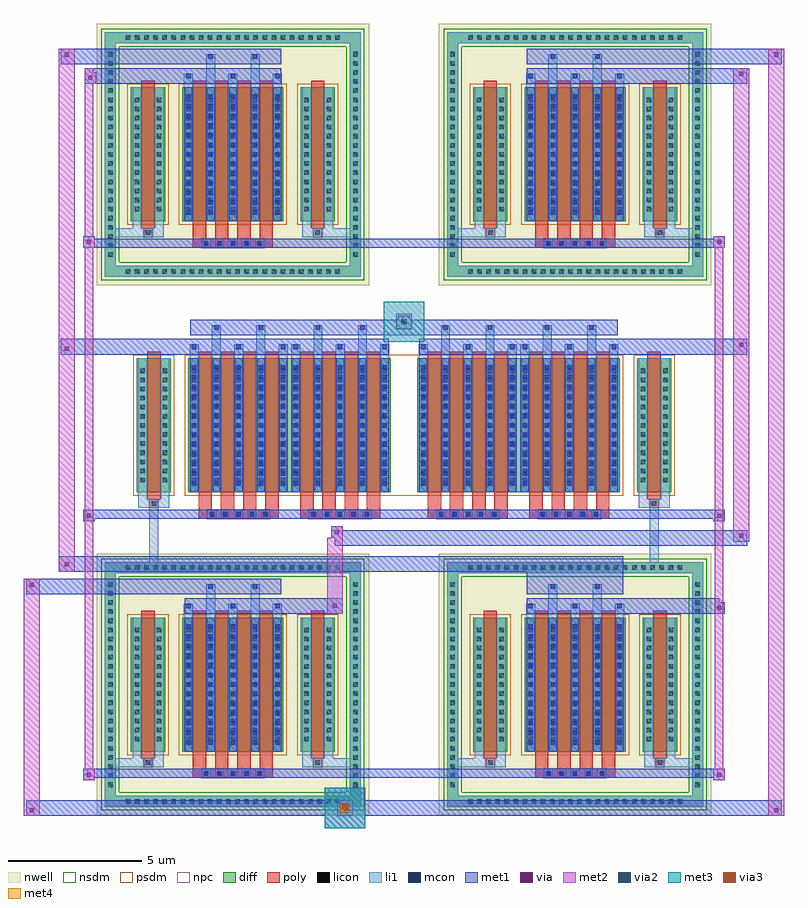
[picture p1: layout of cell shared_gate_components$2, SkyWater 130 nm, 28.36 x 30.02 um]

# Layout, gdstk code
import gdstk
lib = gdstk.Library(unit=1e-6, precision=5e-09)
def R(c, l, rs):  # rectangles x0, y0, x1, y1
    for r in rs: c.add(gdstk.rectangle(r[:2], r[2:], *l))
def A(c, l, x, y, w, h, nx, ny, dx, dy):  # array of equal rectangles
    R(c, l, [(x+i*dx, y+j*dy, x+i*dx+w, y+j*dy+h) for i in range(nx) for j in range(ny)])
def P(c, l, *ps):  # polygons
    for p in ps: c.add(gdstk.Polygon(p, *l))
nwell = (64, 20)
diff = (65, 20)
poly = (66, 20)
licon = (66, 44)
li1 = (67, 20)
mcon = (67, 44)
met1 = (68, 20)
via = (68, 44)
met2 = (69, 20)
via2 = (69, 44)
met3 = (70, 20)
via3 = (70, 44)
met4 = (71, 20)
nsdm = (93, 44)
psdm = (94, 20)
npc = (95, 20)

multiplier_13336cac = lib.new_cell('multiplier_13336cac')
R(multiplier_13336cac, diff, [(-3.805,-2.5,-2.525,2.5), (-1.885,-2.5,1.885,2.5)])
A(multiplier_13336cac, poly, -1.165, -3.48, 0.33, 0.33, 5, 1, 0.5, 0)
A(multiplier_13336cac, poly, -1.495, -3.15, 0.5, 0.4, 4, 1, 0.83, 0)
A(multiplier_13336cac, poly, -1.495, -2.75, 0.5, 5.5, 4, 1, 0.83, 0)
R(multiplier_13336cac, poly, [(-1.495,-3.48,1.495,-3.15), (-3.33,-3.08,-3,-2.75), (-3.33,-3.08,-3,-2.75), (-3.415,-2.75,-2.915,2.75)])
A(multiplier_13336cac, licon, -1.085, -3.4, 0.17, 0.17, 5, 1, 0.5, 0)
A(multiplier_13336cac, licon, -3.665, -2.125, 0.17, 0.17, 1, 13, 0, 0.34)
A(multiplier_13336cac, licon, -2.835, -2.125, 0.17, 0.17, 1, 13, 0, 0.34)
A(multiplier_13336cac, licon, -1.745, -2.125, 0.17, 0.17, 5, 13, 0.83, 0.34)
R(multiplier_13336cac, licon, [(-3.25,-3,-3.08,-2.83)])
A(multiplier_13336cac, li1, -1.165, -3.48, 0.33, 0.33, 5, 1, 0.5, 0)
A(multiplier_13336cac, li1, -1.825, -2.5, 0.33, 5, 5, 1, 0.83, 0)
A(multiplier_13336cac, li1, -1.745, -2.245, 0.17, 0.17, 5, 13, 0.83, 0.36)
A(multiplier_13336cac, li1, -1.745, -2.245, 0.17, 4.49, 5, 1, 0.83, 0)
A(multiplier_13336cac, li1, -3.745, -2.205, 0.33, 0.33, 1, 13, 0, 0.34)
A(multiplier_13336cac, li1, -2.915, -2.205, 0.33, 0.33, 1, 13, 0, 0.34)
A(multiplier_13336cac, li1, -1.825, -2.205, 0.33, 0.33, 5, 13, 0.83, 0.34)
A(multiplier_13336cac, li1, -1.825, 2.5, 0.33, 0.52, 3, 1, 1.66, 0)
A(multiplier_13336cac, li1, -1.745, 2.85, 0.17, 0.17, 3, 1, 1.66, 0)
R(multiplier_13336cac, li1, [(-3.745,-3.08,-3.33,-2.75), (-3.745,-3.08,-3.415,-2.5), (-3.33,-3.08,-3,-2.75), (-3,-3.08,-2.585,-2.75), (-2.915,-3.08,-2.585,-2.5), (-3.745,-2.5,-3.415,2.5), (-2.915,-2.5,-2.585,2.5), (-0.995,2.5,-0.665,3.74), (0.665,2.5,0.995,3.74), (-0.915,3.57,-0.745,3.74), (0.745,3.57,0.915,3.74)])
A(multiplier_13336cac, mcon, -1.085, -3.4, 0.17, 0.17, 5, 1, 0.5, 0)
A(multiplier_13336cac, mcon, -1.745, -2.245, 0.17, 0.17, 5, 13, 0.83, 0.36)
A(multiplier_13336cac, mcon, -1.745, 2.85, 0.17, 0.17, 3, 1, 1.66, 0)
R(multiplier_13336cac, mcon, [(-0.915,3.57,-0.745,3.74), (0.745,3.57,0.915,3.74)])
A(multiplier_13336cac, met1, -1.145, -3.46, 0.29, 0.29, 5, 1, 0.5, 0)
A(multiplier_13336cac, met1, -1.805, -2.5, 0.29, 5, 5, 1, 0.83, 0)
A(multiplier_13336cac, met1, -1.805, -2.305, 0.29, 0.29, 5, 13, 0.83, 0.36)
A(multiplier_13336cac, met1, -1.805, 2.79, 0.29, 0.29, 3, 1, 1.66, 0)
R(multiplier_13336cac, met1, [(-1.495,-3.48,1.495,-3.15), (-1.805,2.645,1.805,3.225), (-1.805,3.365,1.805,3.945), (-0.975,3.51,-0.685,3.8), (0.685,3.51,0.975,3.8)])
R(multiplier_13336cac, psdm, [(-3.935,-2.63,-2.395,2.63), (-2.015,-2.63,2.015,2.63)])
A(multiplier_13336cac, npc, -1.185, -3.5, 0.37, 0.37, 5, 1, 0.5, 0)
R(multiplier_13336cac, npc, [(-1.185,-3.5,-0.315,-3.13), (-1.185,-3.5,-0.315,-3.13), (-0.685,-3.5,0.185,-3.13), (-0.685,-3.5,0.185,-3.13), (-0.185,-3.5,0.685,-3.13), (-0.185,-3.5,0.685,-3.13), (0.315,-3.5,1.185,-3.13), (0.315,-3.5,1.185,-3.13), (-3.35,-3.1,-2.98,-2.73)])

multiplier_c6fd6c1b = lib.new_cell('multiplier_c6fd6c1b')
R(multiplier_c6fd6c1b, diff, [(-1.885,-2.5,1.885,2.5)])
A(multiplier_c6fd6c1b, poly, -1.165, -3.48, 0.33, 0.33, 5, 1, 0.5, 0)
A(multiplier_c6fd6c1b, poly, -1.495, -3.15, 0.5, 0.4, 4, 1, 0.83, 0)
A(multiplier_c6fd6c1b, poly, -1.495, -2.75, 0.5, 5.5, 4, 1, 0.83, 0)
R(multiplier_c6fd6c1b, poly, [(-1.495,-3.48,1.495,-3.15)])
A(multiplier_c6fd6c1b, licon, -1.085, -3.4, 0.17, 0.17, 5, 1, 0.5, 0)
A(multiplier_c6fd6c1b, licon, -1.745, -2.125, 0.17, 0.17, 5, 13, 0.83, 0.34)
A(multiplier_c6fd6c1b, li1, -1.165, -3.48, 0.33, 0.33, 5, 1, 0.5, 0)
A(multiplier_c6fd6c1b, li1, -1.825, -2.5, 0.33, 5, 5, 1, 0.83, 0)
A(multiplier_c6fd6c1b, li1, -1.745, -2.245, 0.17, 0.17, 5, 13, 0.83, 0.36)
A(multiplier_c6fd6c1b, li1, -1.745, -2.245, 0.17, 4.49, 5, 1, 0.83, 0)
A(multiplier_c6fd6c1b, li1, -1.825, -2.205, 0.33, 0.33, 5, 13, 0.83, 0.34)
A(multiplier_c6fd6c1b, li1, -1.825, 2.5, 0.33, 0.52, 3, 1, 1.66, 0)
A(multiplier_c6fd6c1b, li1, -1.745, 2.85, 0.17, 0.17, 3, 1, 1.66, 0)
R(multiplier_c6fd6c1b, li1, [(-0.995,2.5,-0.665,3.74), (0.665,2.5,0.995,3.74), (-0.915,3.57,-0.745,3.74), (0.745,3.57,0.915,3.74)])
A(multiplier_c6fd6c1b, mcon, -1.085, -3.4, 0.17, 0.17, 5, 1, 0.5, 0)
A(multiplier_c6fd6c1b, mcon, -1.745, -2.245, 0.17, 0.17, 5, 13, 0.83, 0.36)
A(multiplier_c6fd6c1b, mcon, -1.745, 2.85, 0.17, 0.17, 3, 1, 1.66, 0)
R(multiplier_c6fd6c1b, mcon, [(-0.915,3.57,-0.745,3.74), (0.745,3.57,0.915,3.74)])
A(multiplier_c6fd6c1b, met1, -1.145, -3.46, 0.29, 0.29, 5, 1, 0.5, 0)
A(multiplier_c6fd6c1b, met1, -1.805, -2.5, 0.29, 5, 5, 1, 0.83, 0)
A(multiplier_c6fd6c1b, met1, -1.805, -2.305, 0.29, 0.29, 5, 13, 0.83, 0.36)
A(multiplier_c6fd6c1b, met1, -1.805, 2.79, 0.29, 0.29, 3, 1, 1.66, 0)
R(multiplier_c6fd6c1b, met1, [(-1.495,-3.48,1.495,-3.15), (-1.805,2.645,1.805,3.225), (-1.805,3.365,1.805,3.945), (-0.975,3.51,-0.685,3.8), (0.685,3.51,0.975,3.8)])
R(multiplier_c6fd6c1b, psdm, [(-2.015,-2.63,2.015,2.63)])
A(multiplier_c6fd6c1b, npc, -1.185, -3.5, 0.37, 0.37, 5, 1, 0.5, 0)
R(multiplier_c6fd6c1b, npc, [(-1.185,-3.5,-0.315,-3.13), (-1.185,-3.5,-0.315,-3.13), (-0.685,-3.5,0.185,-3.13), (-0.685,-3.5,0.185,-3.13), (-0.185,-3.5,0.685,-3.13), (-0.185,-3.5,0.685,-3.13), (0.315,-3.5,1.185,-3.13), (0.315,-3.5,1.185,-3.13)])

multiplier_64a1e3e3 = lib.new_cell('multiplier_64a1e3e3')
R(multiplier_64a1e3e3, diff, [(-1.885,-2.5,1.885,2.5), (2.525,-2.5,3.805,2.5)])
A(multiplier_64a1e3e3, poly, -1.165, -3.48, 0.33, 0.33, 5, 1, 0.5, 0)
A(multiplier_64a1e3e3, poly, -1.495, -3.15, 0.5, 0.4, 4, 1, 0.83, 0)
A(multiplier_64a1e3e3, poly, -1.495, -2.75, 0.5, 5.5, 4, 1, 0.83, 0)
R(multiplier_64a1e3e3, poly, [(-1.495,-3.48,1.495,-3.15), (3,-3.08,3.33,-2.75), (3,-3.08,3.33,-2.75), (2.915,-2.75,3.415,2.75)])
A(multiplier_64a1e3e3, licon, -1.085, -3.4, 0.17, 0.17, 5, 1, 0.5, 0)
A(multiplier_64a1e3e3, licon, -1.745, -2.125, 0.17, 0.17, 5, 13, 0.83, 0.34)
A(multiplier_64a1e3e3, licon, 2.665, -2.125, 0.17, 0.17, 1, 13, 0, 0.34)
A(multiplier_64a1e3e3, licon, 3.495, -2.125, 0.17, 0.17, 1, 13, 0, 0.34)
R(multiplier_64a1e3e3, licon, [(3.08,-3,3.25,-2.83)])
A(multiplier_64a1e3e3, li1, -1.165, -3.48, 0.33, 0.33, 5, 1, 0.5, 0)
A(multiplier_64a1e3e3, li1, -1.825, -2.5, 0.33, 5, 5, 1, 0.83, 0)
A(multiplier_64a1e3e3, li1, -1.745, -2.245, 0.17, 0.17, 5, 13, 0.83, 0.36)
A(multiplier_64a1e3e3, li1, -1.745, -2.245, 0.17, 4.49, 5, 1, 0.83, 0)
A(multiplier_64a1e3e3, li1, -1.825, -2.205, 0.33, 0.33, 5, 13, 0.83, 0.34)
A(multiplier_64a1e3e3, li1, 2.585, -2.205, 0.33, 0.33, 1, 13, 0, 0.34)
A(multiplier_64a1e3e3, li1, 3.415, -2.205, 0.33, 0.33, 1, 13, 0, 0.34)
A(multiplier_64a1e3e3, li1, -1.825, 2.5, 0.33, 0.52, 3, 1, 1.66, 0)
A(multiplier_64a1e3e3, li1, -1.745, 2.85, 0.17, 0.17, 3, 1, 1.66, 0)
R(multiplier_64a1e3e3, li1, [(2.585,-3.08,3,-2.75), (2.585,-3.08,2.915,-2.5), (3,-3.08,3.33,-2.75), (3.33,-3.08,3.745,-2.75), (3.415,-3.08,3.745,-2.5), (2.585,-2.5,2.915,2.5), (3.415,-2.5,3.745,2.5), (-0.995,2.5,-0.665,3.74), (0.665,2.5,0.995,3.74), (-0.915,3.57,-0.745,3.74), (0.745,3.57,0.915,3.74)])
A(multiplier_64a1e3e3, mcon, -1.085, -3.4, 0.17, 0.17, 5, 1, 0.5, 0)
A(multiplier_64a1e3e3, mcon, -1.745, -2.245, 0.17, 0.17, 5, 13, 0.83, 0.36)
A(multiplier_64a1e3e3, mcon, -1.745, 2.85, 0.17, 0.17, 3, 1, 1.66, 0)
R(multiplier_64a1e3e3, mcon, [(-0.915,3.57,-0.745,3.74), (0.745,3.57,0.915,3.74)])
A(multiplier_64a1e3e3, met1, -1.145, -3.46, 0.29, 0.29, 5, 1, 0.5, 0)
A(multiplier_64a1e3e3, met1, -1.805, -2.5, 0.29, 5, 5, 1, 0.83, 0)
A(multiplier_64a1e3e3, met1, -1.805, -2.305, 0.29, 0.29, 5, 13, 0.83, 0.36)
A(multiplier_64a1e3e3, met1, -1.805, 2.79, 0.29, 0.29, 3, 1, 1.66, 0)
R(multiplier_64a1e3e3, met1, [(-1.495,-3.48,1.495,-3.15), (-1.805,2.645,1.805,3.225), (-1.805,3.365,1.805,3.945), (-0.975,3.51,-0.685,3.8), (0.685,3.51,0.975,3.8)])
R(multiplier_64a1e3e3, psdm, [(-2.015,-2.63,2.015,2.63), (2.395,-2.63,3.935,2.63)])
A(multiplier_64a1e3e3, npc, -1.185, -3.5, 0.37, 0.37, 5, 1, 0.5, 0)
R(multiplier_64a1e3e3, npc, [(-1.185,-3.5,-0.315,-3.13), (-1.185,-3.5,-0.315,-3.13), (-0.685,-3.5,0.185,-3.13), (-0.685,-3.5,0.185,-3.13), (-0.185,-3.5,0.685,-3.13), (-0.185,-3.5,0.685,-3.13), (0.315,-3.5,1.185,-3.13), (0.315,-3.5,1.185,-3.13), (2.98,-3.1,3.35,-2.73)])

unnamed_2dea9cd5_1 = lib.new_cell('Unnamed_2dea9cd5$1')
A(unnamed_2dea9cd5_1, diff, -4.115, -4.565, 0.41, 0.41, 24, 2, 0.34, 8.72)
A(unnamed_2dea9cd5_1, diff, -4.775, -3.945, 0.41, 0.41, 1, 23, 0, 0.34)
A(unnamed_2dea9cd5_1, diff, 4.365, -3.945, 0.41, 0.41, 1, 23, 0, 0.34)
R(unnamed_2dea9cd5_1, diff, [(-4.115,-4.565,4.115,-4.155), (-4.775,-3.945,-4.365,3.945), (4.365,-3.945,4.775,3.945), (-4.115,4.155,4.115,4.565)])
P(unnamed_2dea9cd5_1, diff, [(4.775,4.565),(-4.775,4.565),(-4.775,-4.155),(-4.365,-4.155),(-4.365,4.155),(4.365,4.155),(4.365,-4.155),(-4.365,-4.155),(-4.775,-4.155),(-4.775,-4.565),(4.775,-4.565)])
A(unnamed_2dea9cd5_1, licon, -3.995, -4.445, 0.17, 0.17, 24, 2, 0.34, 8.72)
A(unnamed_2dea9cd5_1, licon, -4.655, -3.825, 0.17, 0.17, 1, 23, 0, 0.34)
A(unnamed_2dea9cd5_1, licon, 4.485, -3.825, 0.17, 0.17, 1, 23, 0, 0.34)
A(unnamed_2dea9cd5_1, li1, -4.075, -4.525, 0.33, 0.33, 24, 2, 0.34, 8.72)
A(unnamed_2dea9cd5_1, li1, -4.735, -3.905, 0.33, 0.33, 1, 23, 0, 0.34)
A(unnamed_2dea9cd5_1, li1, 4.405, -3.905, 0.33, 0.33, 1, 23, 0, 0.34)
R(unnamed_2dea9cd5_1, li1, [(-4.775,-4.565,-4.365,-4.155), (-4.775,-4.565,-4.365,-4.155), (-4.365,-4.565,4.365,-4.155), (4.365,-4.565,4.775,-4.155), (4.365,-4.565,4.775,-4.155), (-4.775,-4.155,-4.365,4.155), (4.365,-4.155,4.775,4.155), (-4.775,4.155,-4.365,4.565), (-4.775,4.155,-4.365,4.565), (-4.365,4.155,4.365,4.565), (4.365,4.155,4.775,4.565), (4.365,4.155,4.775,4.565)])
P(unnamed_2dea9cd5_1, nsdm, [(4.905,4.695),(-4.905,4.695),(-4.905,-4.025),(-4.235,-4.025),(-4.235,4.025),(4.235,4.025),(4.235,-4.025),(-4.235,-4.025),(-4.905,-4.025),(-4.905,-4.695),(4.905,-4.695)])

straight_route_e33b31c4 = lib.new_cell('straight_route_e33b31c4')
R(straight_route_e33b31c4, li1, [(-4.775,-3.08,-3.33,-2.75)])

straight_route_740a9eba = lib.new_cell('straight_route_740a9eba')
R(straight_route_740a9eba, li1, [(3,-3.08,4.775,-2.75)])

unnamed_f4b419b6 = lib.new_cell('Unnamed_f4b419b6')
R(unnamed_f4b419b6, nwell, [(-5.085,-4.875,5.085,4.875)])
R(unnamed_f4b419b6, diff, [(-3.805,-2.5,-2.525,2.5), (-1.885,-2.5,1.885,2.5), (2.525,-2.5,3.805,2.5)])
A(unnamed_f4b419b6, poly, -1.165, -3.48, 0.33, 0.33, 5, 1, 0.5, 0)
A(unnamed_f4b419b6, poly, -1.495, -3.15, 0.5, 0.4, 4, 1, 0.83, 0)
A(unnamed_f4b419b6, poly, -1.495, -2.75, 0.5, 5.5, 4, 1, 0.83, 0)
R(unnamed_f4b419b6, poly, [(-1.495,-3.48,1.495,-3.15), (-3.33,-3.08,-3,-2.75), (-3.33,-3.08,-3,-2.75), (3,-3.08,3.33,-2.75), (3,-3.08,3.33,-2.75), (-3.415,-2.75,-2.915,2.75), (2.915,-2.75,3.415,2.75)])
A(unnamed_f4b419b6, licon, -1.085, -3.4, 0.17, 0.17, 5, 1, 0.5, 0)
A(unnamed_f4b419b6, licon, -3.665, -2.125, 0.17, 0.17, 1, 13, 0, 0.34)
A(unnamed_f4b419b6, licon, -2.835, -2.125, 0.17, 0.17, 1, 13, 0, 0.34)
A(unnamed_f4b419b6, licon, -1.745, -2.125, 0.17, 0.17, 5, 13, 0.83, 0.34)
A(unnamed_f4b419b6, licon, 2.665, -2.125, 0.17, 0.17, 1, 13, 0, 0.34)
A(unnamed_f4b419b6, licon, 3.495, -2.125, 0.17, 0.17, 1, 13, 0, 0.34)
R(unnamed_f4b419b6, licon, [(-3.25,-3,-3.08,-2.83), (3.08,-3,3.25,-2.83)])
A(unnamed_f4b419b6, li1, -1.165, -3.48, 0.33, 0.33, 5, 1, 0.5, 0)
A(unnamed_f4b419b6, li1, -1.825, -2.5, 0.33, 5, 5, 1, 0.83, 0)
A(unnamed_f4b419b6, li1, -1.745, -2.245, 0.17, 0.17, 5, 13, 0.83, 0.36)
A(unnamed_f4b419b6, li1, -1.745, -2.245, 0.17, 4.49, 5, 1, 0.83, 0)
A(unnamed_f4b419b6, li1, -3.745, -2.205, 0.33, 0.33, 1, 13, 0, 0.34)
A(unnamed_f4b419b6, li1, -2.915, -2.205, 0.33, 0.33, 1, 13, 0, 0.34)
A(unnamed_f4b419b6, li1, -1.825, -2.205, 0.33, 0.33, 5, 13, 0.83, 0.34)
A(unnamed_f4b419b6, li1, 2.585, -2.205, 0.33, 0.33, 1, 13, 0, 0.34)
A(unnamed_f4b419b6, li1, 3.415, -2.205, 0.33, 0.33, 1, 13, 0, 0.34)
A(unnamed_f4b419b6, li1, -1.825, 2.5, 0.33, 0.52, 3, 1, 1.66, 0)
A(unnamed_f4b419b6, li1, -1.745, 2.85, 0.17, 0.17, 3, 1, 1.66, 0)
R(unnamed_f4b419b6, li1, [(-3.745,-3.08,-3.33,-2.75), (-3.745,-3.08,-3.415,-2.5), (-3.33,-3.08,-3,-2.75), (-3,-3.08,-2.585,-2.75), (-2.915,-3.08,-2.585,-2.5), (2.585,-3.08,3,-2.75), (2.585,-3.08,2.915,-2.5), (3,-3.08,3.33,-2.75), (3.33,-3.08,3.745,-2.75), (3.415,-3.08,3.745,-2.5), (-3.745,-2.5,-3.415,2.5), (-2.915,-2.5,-2.585,2.5), (2.585,-2.5,2.915,2.5), (3.415,-2.5,3.745,2.5), (-0.995,2.5,-0.665,3.74), (0.665,2.5,0.995,3.74), (-0.915,3.57,-0.745,3.74), (0.745,3.57,0.915,3.74)])
A(unnamed_f4b419b6, mcon, -1.085, -3.4, 0.17, 0.17, 5, 1, 0.5, 0)
A(unnamed_f4b419b6, mcon, -1.745, -2.245, 0.17, 0.17, 5, 13, 0.83, 0.36)
A(unnamed_f4b419b6, mcon, -1.745, 2.85, 0.17, 0.17, 3, 1, 1.66, 0)
R(unnamed_f4b419b6, mcon, [(-0.915,3.57,-0.745,3.74), (0.745,3.57,0.915,3.74)])
A(unnamed_f4b419b6, met1, -1.145, -3.46, 0.29, 0.29, 5, 1, 0.5, 0)
A(unnamed_f4b419b6, met1, -1.805, -2.5, 0.29, 5, 5, 1, 0.83, 0)
A(unnamed_f4b419b6, met1, -1.805, -2.305, 0.29, 0.29, 5, 13, 0.83, 0.36)
A(unnamed_f4b419b6, met1, -1.805, 2.79, 0.29, 0.29, 3, 1, 1.66, 0)
R(unnamed_f4b419b6, met1, [(-1.495,-3.48,1.495,-3.15), (-1.805,2.645,1.805,3.225), (-1.805,3.365,1.805,3.945), (-0.975,3.51,-0.685,3.8), (0.685,3.51,0.975,3.8)])
R(unnamed_f4b419b6, psdm, [(-3.935,-2.63,-2.395,2.63), (-2.015,-2.63,2.015,2.63), (2.395,-2.63,3.935,2.63)])
A(unnamed_f4b419b6, npc, -1.185, -3.5, 0.37, 0.37, 5, 1, 0.5, 0)
R(unnamed_f4b419b6, npc, [(-1.185,-3.5,-0.315,-3.13), (-1.185,-3.5,-0.315,-3.13), (-0.685,-3.5,0.185,-3.13), (-0.685,-3.5,0.185,-3.13), (-0.185,-3.5,0.685,-3.13), (-0.185,-3.5,0.685,-3.13), (0.315,-3.5,1.185,-3.13), (0.315,-3.5,1.185,-3.13), (-3.35,-3.1,-2.98,-2.73), (2.98,-3.1,3.35,-2.73)])
unnamed_f4b419b6.add(gdstk.Reference(unnamed_2dea9cd5_1, (0,0)))
unnamed_f4b419b6.add(gdstk.Reference(straight_route_e33b31c4, (0,0)))
unnamed_f4b419b6.add(gdstk.Reference(straight_route_740a9eba, (0,0)))

unnamed_cd8e4dc9 = lib.new_cell('Unnamed_cd8e4dc9')
R(unnamed_cd8e4dc9, nwell, [(-5.085,-4.875,5.085,4.875)])
R(unnamed_cd8e4dc9, diff, [(-3.805,-2.5,-2.525,2.5), (-1.885,-2.5,1.885,2.5), (2.525,-2.5,3.805,2.5)])
A(unnamed_cd8e4dc9, poly, -1.165, -3.48, 0.33, 0.33, 5, 1, 0.5, 0)
A(unnamed_cd8e4dc9, poly, -1.495, -3.15, 0.5, 0.4, 4, 1, 0.83, 0)
A(unnamed_cd8e4dc9, poly, -1.495, -2.75, 0.5, 5.5, 4, 1, 0.83, 0)
R(unnamed_cd8e4dc9, poly, [(-1.495,-3.48,1.495,-3.15), (-3.33,-3.08,-3,-2.75), (-3.33,-3.08,-3,-2.75), (3,-3.08,3.33,-2.75), (3,-3.08,3.33,-2.75), (-3.415,-2.75,-2.915,2.75), (2.915,-2.75,3.415,2.75)])
A(unnamed_cd8e4dc9, licon, -1.085, -3.4, 0.17, 0.17, 5, 1, 0.5, 0)
A(unnamed_cd8e4dc9, licon, -3.665, -2.125, 0.17, 0.17, 1, 13, 0, 0.34)
A(unnamed_cd8e4dc9, licon, -2.835, -2.125, 0.17, 0.17, 1, 13, 0, 0.34)
A(unnamed_cd8e4dc9, licon, -1.745, -2.125, 0.17, 0.17, 5, 13, 0.83, 0.34)
A(unnamed_cd8e4dc9, licon, 2.665, -2.125, 0.17, 0.17, 1, 13, 0, 0.34)
A(unnamed_cd8e4dc9, licon, 3.495, -2.125, 0.17, 0.17, 1, 13, 0, 0.34)
R(unnamed_cd8e4dc9, licon, [(-3.25,-3,-3.08,-2.83), (3.08,-3,3.25,-2.83)])
A(unnamed_cd8e4dc9, li1, -1.165, -3.48, 0.33, 0.33, 5, 1, 0.5, 0)
A(unnamed_cd8e4dc9, li1, -1.825, -2.5, 0.33, 5, 5, 1, 0.83, 0)
A(unnamed_cd8e4dc9, li1, -1.745, -2.245, 0.17, 0.17, 5, 13, 0.83, 0.36)
A(unnamed_cd8e4dc9, li1, -1.745, -2.245, 0.17, 4.49, 5, 1, 0.83, 0)
A(unnamed_cd8e4dc9, li1, -3.745, -2.205, 0.33, 0.33, 1, 13, 0, 0.34)
A(unnamed_cd8e4dc9, li1, -2.915, -2.205, 0.33, 0.33, 1, 13, 0, 0.34)
A(unnamed_cd8e4dc9, li1, -1.825, -2.205, 0.33, 0.33, 5, 13, 0.83, 0.34)
A(unnamed_cd8e4dc9, li1, 2.585, -2.205, 0.33, 0.33, 1, 13, 0, 0.34)
A(unnamed_cd8e4dc9, li1, 3.415, -2.205, 0.33, 0.33, 1, 13, 0, 0.34)
A(unnamed_cd8e4dc9, li1, -1.825, 2.5, 0.33, 0.52, 3, 1, 1.66, 0)
A(unnamed_cd8e4dc9, li1, -1.745, 2.85, 0.17, 0.17, 3, 1, 1.66, 0)
R(unnamed_cd8e4dc9, li1, [(-3.745,-3.08,-3.33,-2.75), (-3.745,-3.08,-3.415,-2.5), (-3.33,-3.08,-3,-2.75), (-3,-3.08,-2.585,-2.75), (-2.915,-3.08,-2.585,-2.5), (2.585,-3.08,3,-2.75), (2.585,-3.08,2.915,-2.5), (3,-3.08,3.33,-2.75), (3.33,-3.08,3.745,-2.75), (3.415,-3.08,3.745,-2.5), (-3.745,-2.5,-3.415,2.5), (-2.915,-2.5,-2.585,2.5), (2.585,-2.5,2.915,2.5), (3.415,-2.5,3.745,2.5), (-0.995,2.5,-0.665,3.74), (0.665,2.5,0.995,3.74), (-0.915,3.57,-0.745,3.74), (0.745,3.57,0.915,3.74)])
A(unnamed_cd8e4dc9, mcon, -1.085, -3.4, 0.17, 0.17, 5, 1, 0.5, 0)
A(unnamed_cd8e4dc9, mcon, -1.745, -2.245, 0.17, 0.17, 5, 13, 0.83, 0.36)
A(unnamed_cd8e4dc9, mcon, -1.745, 2.85, 0.17, 0.17, 3, 1, 1.66, 0)
R(unnamed_cd8e4dc9, mcon, [(-0.915,3.57,-0.745,3.74), (0.745,3.57,0.915,3.74)])
A(unnamed_cd8e4dc9, met1, -1.145, -3.46, 0.29, 0.29, 5, 1, 0.5, 0)
A(unnamed_cd8e4dc9, met1, -1.805, -2.5, 0.29, 5, 5, 1, 0.83, 0)
A(unnamed_cd8e4dc9, met1, -1.805, -2.305, 0.29, 0.29, 5, 13, 0.83, 0.36)
A(unnamed_cd8e4dc9, met1, -1.805, 2.79, 0.29, 0.29, 3, 1, 1.66, 0)
R(unnamed_cd8e4dc9, met1, [(-1.495,-3.48,1.495,-3.15), (-1.805,2.645,1.805,3.225), (-1.805,3.365,1.805,3.945), (-0.975,3.51,-0.685,3.8), (0.685,3.51,0.975,3.8)])
R(unnamed_cd8e4dc9, psdm, [(-3.935,-2.63,-2.395,2.63), (-2.015,-2.63,2.015,2.63), (2.395,-2.63,3.935,2.63)])
A(unnamed_cd8e4dc9, npc, -1.185, -3.5, 0.37, 0.37, 5, 1, 0.5, 0)
R(unnamed_cd8e4dc9, npc, [(-1.185,-3.5,-0.315,-3.13), (-1.185,-3.5,-0.315,-3.13), (-0.685,-3.5,0.185,-3.13), (-0.685,-3.5,0.185,-3.13), (-0.185,-3.5,0.685,-3.13), (-0.185,-3.5,0.685,-3.13), (0.315,-3.5,1.185,-3.13), (0.315,-3.5,1.185,-3.13), (-3.35,-3.1,-2.98,-2.73), (2.98,-3.1,3.35,-2.73)])
unnamed_cd8e4dc9.add(gdstk.Reference(unnamed_2dea9cd5_1, (0,0)))
unnamed_cd8e4dc9.add(gdstk.Reference(straight_route_e33b31c4, (0,0)))
unnamed_cd8e4dc9.add(gdstk.Reference(straight_route_740a9eba, (0,0)))

route_quad_f044b3bd = lib.new_cell('route_quad_f044b3bd')
R(route_quad_f044b3bd, met1, [(-7.88,-3.48,7.88,-3.15)])

c_2_multiplier_shared_gate = lib.new_cell('2_multiplier_shared_gate_comps$2')
c_2_multiplier_shared_gate.add(gdstk.Reference(unnamed_f4b419b6, (-6.385,0)))
c_2_multiplier_shared_gate.add(gdstk.Reference(unnamed_cd8e4dc9, (6.385,0)))
c_2_multiplier_shared_gate.add(gdstk.Reference(route_quad_f044b3bd, (0,0)))

straight_route_611d71de = lib.new_cell('straight_route_611d71de')
R(straight_route_611d71de, li1, [(-9.5,-5.735,-9.17,-2.97)])

straight_route_e1ead285 = lib.new_cell('straight_route_e1ead285')
R(straight_route_e1ead285, li1, [(9.17,-5.735,9.5,-2.97)])

route_quad_ba57e661 = lib.new_cell('route_quad_ba57e661')
R(route_quad_ba57e661, psdm, [(-8.185,-2.85,8.185,2.41)])

route_quad_824e0607 = lib.new_cell('route_quad_824e0607')
R(route_quad_824e0607, met1, [(-7.975,2.425,-0.575,3.005)])

route_quad_01e98967 = lib.new_cell('route_quad_01e98967')
R(route_quad_01e98967, met1, [(0.575,2.425,7.975,3.005)])

route_quad_0ef6e8e4 = lib.new_cell('route_quad_0ef6e8e4')
R(route_quad_0ef6e8e4, met1, [(-7.975,3.145,7.975,3.725)])

via_stack_daa6e7a5_2 = lib.new_cell('via_stack_daa6e7a5$2')
R(via_stack_daa6e7a5_2, met1, [(-0.215,-0.215,0.215,0.215)])
R(via_stack_daa6e7a5_2, via, [(-0.075,-0.075,0.075,0.075)])
R(via_stack_daa6e7a5_2, met2, [(-0.29,-0.29,0.29,0.29)])
R(via_stack_daa6e7a5_2, via2, [(-0.1,-0.1,0.1,0.1)])
R(via_stack_daa6e7a5_2, met3, [(-0.75,-0.75,0.75,0.75)])

route_quad_17732c7e = lib.new_cell('route_quad_17732c7e')
R(route_quad_17732c7e, met1, [(-7.665,-3.7,7.665,-3.37)])

c_route_971913d5 = lib.new_cell('c_route_971913d5')
R(c_route_971913d5, met1, [(-11.97,-13.47,-11.54,-13.04), (-11.97,-13.37,-7.88,-13.04), (-11.97,6.41,-7.88,6.74), (-11.97,6.41,-11.54,6.84)])
R(c_route_971913d5, via, [(-11.83,-13.33,-11.68,-13.18), (-11.83,6.55,-11.68,6.7)])
R(c_route_971913d5, met2, [(-11.97,-13.47,-11.54,-13.04), (-11.92,-13.47,-11.59,6.84), (-11.59,-13.47,-11.54,-13.04), (-11.92,-13.42,-11.59,-13.09), (-11.97,6.41,-11.54,6.84), (-11.59,6.41,-11.54,6.84), (-11.92,6.46,-11.59,6.79)])

c_route_56d920ad = lib.new_cell('c_route_56d920ad')
R(c_route_56d920ad, met1, [(11.54,-13.47,11.97,-13.04), (7.88,-13.37,11.97,-13.04), (7.88,6.41,11.97,6.74), (11.54,6.41,11.97,6.84)])
R(c_route_56d920ad, via, [(11.68,-13.33,11.83,-13.18), (11.68,6.55,11.83,6.7)])
R(c_route_56d920ad, met2, [(11.54,-13.47,11.97,-13.04), (11.59,-13.47,11.92,6.84), (11.92,-13.47,11.97,-13.04), (11.59,-13.42,11.92,-13.09), (11.54,6.41,11.97,6.84), (11.92,6.41,11.97,6.84), (11.59,6.46,11.92,6.79)])

straight_route_bd1baf45 = lib.new_cell('straight_route_bd1baf45')
R(straight_route_bd1baf45, met1, [(-11.97,-3.8,-11.54,-3.37), (-11.755,-3.7,-7.665,-3.37)])
R(straight_route_bd1baf45, via, [(-11.83,-3.66,-11.68,-3.51)])
R(straight_route_bd1baf45, met2, [(-11.92,-3.75,-11.59,-3.42)])

straight_route_7b6c7e12 = lib.new_cell('straight_route_7b6c7e12')
R(straight_route_7b6c7e12, met1, [(11.54,-3.8,11.97,-3.37), (7.665,-3.7,11.755,-3.37)])
R(straight_route_7b6c7e12, via, [(11.68,-3.66,11.83,-3.51)])
R(straight_route_7b6c7e12, met2, [(11.59,-3.75,11.92,-3.42)])

l_route_8709efa3 = lib.new_cell('L_route_8709efa3')
R(l_route_8709efa3, met1, [(-11.92,12.535,-8.19,13.115), (-11.92,12.535,-11.49,12.965), (-11.92,12.535,-11.49,12.965)])
R(l_route_8709efa3, via, [(-11.78,12.675,-11.63,12.825)])
R(l_route_8709efa3, met2, [(-11.92,6.84,-11.59,13.115), (-11.92,12.535,-11.49,12.965), (-11.87,12.585,-11.54,12.915)])

straight_route_f0a832c6 = lib.new_cell('straight_route_f0a832c6')
R(straight_route_f0a832c6, met1, [(8.19,-7.245,11.755,-6.665), (11.54,-7.245,11.97,-6.815)])
R(straight_route_f0a832c6, via, [(11.68,-7.105,11.83,-6.955)])
R(straight_route_f0a832c6, met2, [(11.59,-7.195,11.92,-6.865)])

c_route_21c4b391 = lib.new_cell('c_route_21c4b391')
R(c_route_21c4b391, met1, [(-12.8,2.425,-12.37,2.855), (-12.8,2.425,-7.975,3.005), (-12.8,13.255,-8.19,13.835), (-12.8,13.405,-12.37,13.835)])
R(c_route_21c4b391, via, [(-12.66,2.565,-12.51,2.715), (-12.66,13.545,-12.51,13.695)])
R(c_route_21c4b391, met2, [(-12.875,2.425,-12.295,13.835), (-12.8,2.425,-12.37,2.855), (-12.37,2.425,-12.295,2.855), (-12.75,2.475,-12.42,2.805), (-12.8,13.405,-12.37,13.835), (-12.37,13.405,-12.295,13.835), (-12.75,13.455,-12.42,13.785)])

compass_1bc64953_6 = lib.new_cell('compass_1bc64953$6')
R(compass_1bc64953_6, met1, [(-1.805,-0.29,1.805,0.29)])

unnamed_322013fb = lib.new_cell('Unnamed_322013fb')
unnamed_322013fb.add(gdstk.Reference(compass_1bc64953_6, (1.805,0.29)))

straight_route_636c7bc5 = lib.new_cell('straight_route_636c7bc5')
R(straight_route_636c7bc5, met1, [(4.58,-5.945,8.19,-5.685)])

l_route_eecd8a44 = lib.new_cell('L_route_eecd8a44')
R(l_route_eecd8a44, met1, [(-12.875,-5.685,4.58,-5.105), (-12.8,-5.61,-12.37,-5.18), (-12.8,-5.61,-12.37,-5.18)])
R(l_route_eecd8a44, via, [(-12.66,-5.47,-12.51,-5.32)])
R(l_route_eecd8a44, met2, [(-12.875,-5.685,-12.295,-5.105), (-12.875,-5.685,-12.295,2.425), (-12.75,-5.56,-12.42,-5.23)])

c_route_9046dee7 = lib.new_cell('c_route_9046dee7')
R(c_route_9046dee7, met1, [(7.975,2.425,12.8,3.005), (12.37,2.575,12.8,3.005), (8.19,12.535,12.8,13.115), (12.37,12.685,12.8,13.115)])
R(c_route_9046dee7, via, [(12.51,2.715,12.66,2.865), (12.51,12.825,12.66,12.975)])
R(c_route_9046dee7, met2, [(12.295,2.575,12.875,13.115), (12.37,2.575,12.8,3.005), (12.8,2.575,12.875,3.005), (12.42,2.625,12.75,2.955), (12.37,12.685,12.8,13.115), (12.8,12.685,12.875,13.115), (12.42,12.735,12.75,13.065)])

l_route_be1ff44f = lib.new_cell('L_route_be1ff44f')
R(l_route_be1ff44f, met1, [(-4.58,-7.245,-2.29,-6.665), (-2.795,-7.17,-2.365,-6.74), (-2.795,-7.17,-2.365,-6.74)])
R(l_route_be1ff44f, via, [(-2.655,-7.03,-2.505,-6.88)])
R(l_route_be1ff44f, met2, [(-2.87,-7.245,-2.29,-6.665), (-2.87,-7.245,-2.29,-4.415), (-2.745,-7.12,-2.415,-6.79)])

c_route_6365dbc3 = lib.new_cell('c_route_6365dbc3')
R(c_route_6365dbc3, met1, [(-2.58,-4.705,12.8,-4.125), (12.37,-4.555,12.8,-4.125), (7.975,2.425,12.8,3.005), (12.37,2.575,12.8,3.005)])
R(c_route_6365dbc3, via, [(12.51,-4.415,12.66,-4.265), (12.51,2.715,12.66,2.865)])
R(c_route_6365dbc3, met2, [(12.295,-4.555,12.875,3.005), (12.37,-4.555,12.8,-4.125), (12.8,-4.555,12.875,-4.125), (12.42,-4.505,12.75,-4.175), (12.37,2.575,12.8,3.005), (12.8,2.575,12.875,3.005), (12.42,2.625,12.75,2.955)])

via_stack_5c4b7883_2 = lib.new_cell('via_stack_5c4b7883$2')
R(via_stack_5c4b7883_2, met1, [(-0.215,-0.215,0.215,0.215)])
R(via_stack_5c4b7883_2, via, [(-0.075,-0.075,0.075,0.075)])
R(via_stack_5c4b7883_2, met2, [(-0.215,-0.215,0.215,0.215), (-0.165,-0.165,0.165,0.165)])

via_stack_c894a9a7_2 = lib.new_cell('via_stack_c894a9a7$2')
R(via_stack_c894a9a7_2, met1, [(-0.75,-0.75,0.75,0.75), (-0.215,-0.215,0.215,0.215)])
R(via_stack_c894a9a7_2, via, [(-0.075,-0.075,0.075,0.075)])
R(via_stack_c894a9a7_2, met2, [(-0.29,-0.29,0.29,0.29)])
R(via_stack_c894a9a7_2, via2, [(-0.1,-0.1,0.1,0.1)])
R(via_stack_c894a9a7_2, met3, [(-0.75,-0.75,0.75,0.75)])
R(via_stack_c894a9a7_2, via3, [(-0.1,-0.1,0.1,0.1)])
R(via_stack_c894a9a7_2, met4, [(-0.17,-0.17,0.17,0.17)])

c_route_33d0a3b6 = lib.new_cell('c_route_33d0a3b6')
R(c_route_33d0a3b6, met1, [(-1.455,-14.79,14.105,-14.21), (13.675,-14.79,14.105,-14.36), (8.19,13.255,14.105,13.835), (13.675,13.405,14.105,13.835)])
R(c_route_33d0a3b6, via, [(13.815,-14.65,13.965,-14.5), (13.815,13.545,13.965,13.695)])
R(c_route_33d0a3b6, met2, [(13.6,-14.79,14.18,13.835), (13.675,-14.79,14.105,-14.36), (14.105,-14.79,14.18,-14.36), (13.725,-14.74,14.055,-14.41), (13.675,13.405,14.105,13.835), (14.105,13.405,14.18,13.835), (13.725,13.455,14.055,13.785)])

c_route_0d7fcea7 = lib.new_cell('c_route_0d7fcea7')
R(c_route_0d7fcea7, met1, [(-14.105,-14.79,-13.675,-14.36), (-14.105,-14.79,-2.955,-14.21), (-14.105,-6.525,-8.19,-5.945), (-14.105,-6.375,-13.675,-5.945)])
R(c_route_0d7fcea7, via, [(-13.965,-14.65,-13.815,-14.5), (-13.965,-6.235,-13.815,-6.085)])
R(c_route_0d7fcea7, met2, [(-14.18,-14.79,-13.6,-5.945), (-14.105,-14.79,-13.675,-14.36), (-13.675,-14.79,-13.6,-14.36), (-14.055,-14.74,-13.725,-14.41), (-14.105,-6.375,-13.675,-5.945), (-13.675,-6.375,-13.6,-5.945), (-14.055,-6.325,-13.725,-5.995)])

shared_gate_components_2 = lib.new_cell('shared_gate_components$2')
shared_gate_components_2.add(gdstk.Reference(multiplier_13336cac, (-6.17,-0.22)))
shared_gate_components_2.add(gdstk.Reference(multiplier_c6fd6c1b, (-2.38,-0.22)))
shared_gate_components_2.add(gdstk.Reference(multiplier_c6fd6c1b, (2.38,-0.22)))
shared_gate_components_2.add(gdstk.Reference(multiplier_64a1e3e3, (6.17,-0.22)))
shared_gate_components_2.add(gdstk.Reference(c_2_multiplier_shared_gate, (0,9.89)))
shared_gate_components_2.add(gdstk.Reference(c_2_multiplier_shared_gate, (0,-9.89)))
shared_gate_components_2.add(gdstk.Reference(straight_route_611d71de, (0,0)))
shared_gate_components_2.add(gdstk.Reference(straight_route_e1ead285, (0,0)))
shared_gate_components_2.add(gdstk.Reference(route_quad_ba57e661, (0,0)))
shared_gate_components_2.add(gdstk.Reference(route_quad_824e0607, (0,0)))
shared_gate_components_2.add(gdstk.Reference(route_quad_01e98967, (0,0)))
shared_gate_components_2.add(gdstk.Reference(route_quad_0ef6e8e4, (0,0)))
shared_gate_components_2.add(gdstk.Reference(via_stack_daa6e7a5_2, (0,3.65)))
shared_gate_components_2.add(gdstk.Reference(route_quad_17732c7e, (0,0)))
shared_gate_components_2.add(gdstk.Reference(c_route_971913d5, (0,0)))
shared_gate_components_2.add(gdstk.Reference(c_route_56d920ad, (0,0)))
shared_gate_components_2.add(gdstk.Reference(straight_route_bd1baf45, (0,0)))
shared_gate_components_2.add(gdstk.Reference(straight_route_7b6c7e12, (0,0)))
shared_gate_components_2.add(gdstk.Reference(l_route_8709efa3, (0,0)))
shared_gate_components_2.add(gdstk.Reference(straight_route_f0a832c6, (0,0)))
shared_gate_components_2.add(gdstk.Reference(c_route_21c4b391, (0,0)))
shared_gate_components_2.add(gdstk.Reference(unnamed_322013fb, (4.58,-5.685)))
shared_gate_components_2.add(gdstk.Reference(straight_route_636c7bc5, (0,0)))
shared_gate_components_2.add(gdstk.Reference(l_route_eecd8a44, (0,0)))
shared_gate_components_2.add(gdstk.Reference(c_route_9046dee7, (0,0)))
shared_gate_components_2.add(gdstk.Reference(l_route_be1ff44f, (0,0)))
shared_gate_components_2.add(gdstk.Reference(c_route_6365dbc3, (0,0)))
shared_gate_components_2.add(gdstk.Reference(via_stack_5c4b7883_2, (-2.505,-4.2)))
shared_gate_components_2.add(gdstk.Reference(via_stack_c894a9a7_2, (-2.205,-14.5)))
shared_gate_components_2.add(gdstk.Reference(c_route_33d0a3b6, (0,0)))
shared_gate_components_2.add(gdstk.Reference(c_route_0d7fcea7, (0,0)))

lib.write_gds('shared_gate_components_2.gds')
